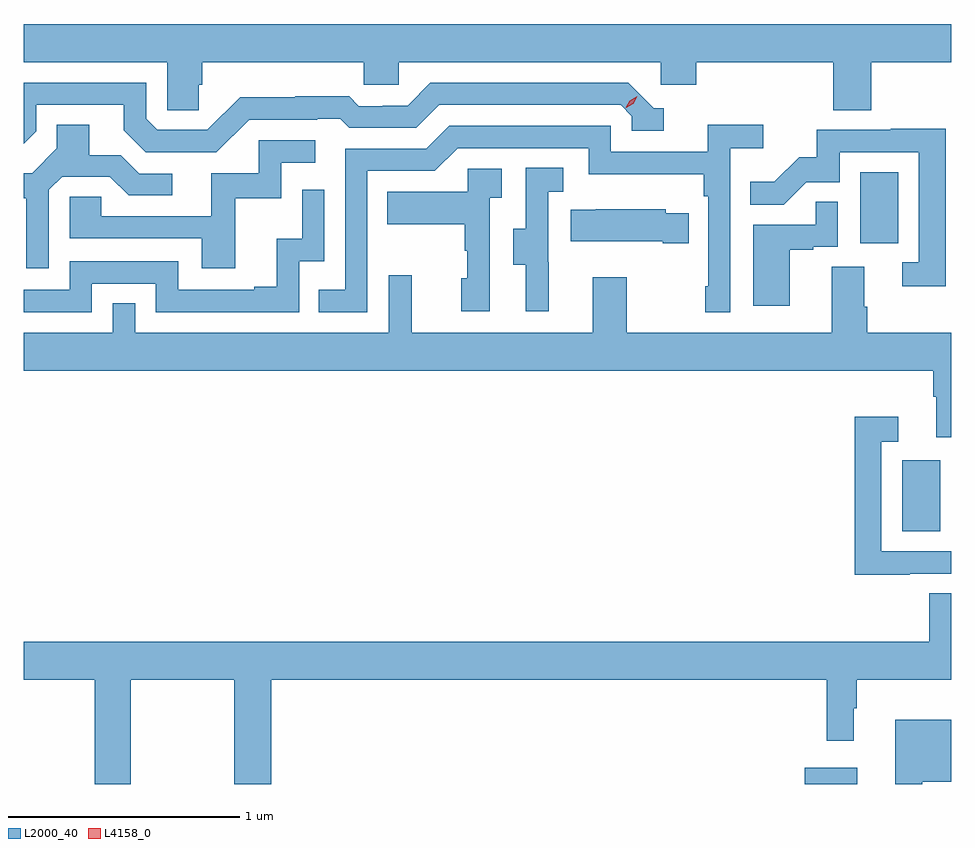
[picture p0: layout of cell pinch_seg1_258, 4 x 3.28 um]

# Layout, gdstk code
import gdstk
lib = gdstk.Library(unit=1e-6, precision=1e-09)
def R(c, l, rs):  # rectangles x0, y0, x1, y1
    for r in rs: c.add(gdstk.rectangle(r[:2], r[2:], *l))
def P(c, l, *ps):  # polygons
    for p in ps: c.add(gdstk.Polygon(p, *l))
L2000_40 = (2000, 40)
L4158_0 = (4158, 0)

pinch_seg1_258 = lib.new_cell('pinch_seg1_258')
R(pinch_seg1_258, L2000_40, [(949.892,577.922,950.119,577.993), (950.312,579.012,950.476,579.319), (950.132,580.254,950.296,580.561)])
P(pinch_seg1_258, L2000_40, [(947.279,580.938),(947.294,580.938),(947.294,581.036),(947.991,581.036),(947.991,580.938),(948.141,580.938),(948.141,581.036),(949.272,581.036),(949.272,580.938),(949.424,580.938),(949.424,581.036),(950.015,581.036),(950.015,580.828),(950.18,580.828),(950.18,581.036),(950.524,581.036),(950.524,581.2),(946.524,581.2),(946.524,581.036),(947.142,581.036),(947.142,580.828),(947.279,580.828)],
  [(947.496,580.788),(947.789,580.788),(947.789,580.791),(947.888,580.791),(947.927,580.752),(948.216,580.752),(948.315,580.851),(949.098,580.851),(949.146,580.803),(949.146,580.74),(949.285,580.74),(949.285,580.836),(949.242,580.836),(949.131,580.947),(948.278,580.947),(948.179,580.848),(948.072,580.848),(948.072,580.845),(947.969,580.845),(947.927,580.888),(947.694,580.888),(947.694,580.885),(947.458,580.885),(947.316,580.743),(947.1,580.743),(947.052,580.791),(947.052,580.947),(946.524,580.947),(946.524,580.683),(946.578,580.737),(946.578,580.851),(946.955,580.851),(946.955,580.741),(947.049,580.647),(947.355,580.647)],
  [(948.006,580.566),(948.297,580.566),(948.396,580.665),(948.96,580.665),(948.96,580.553),(949.456,580.553),(949.456,580.457),(949.476,580.457),(949.476,580.069),(949.464,580.069),(949.464,579.957),(949.572,579.957),(949.572,580.664),(949.714,580.664),(949.714,580.766),(949.475,580.766),(949.475,580.65),(949.056,580.65),(949.056,580.761),(948.359,580.761),(948.26,580.662),(947.91,580.662),(947.91,580.053),(947.797,580.053),(947.797,579.957),(948.006,579.957)],
  [(946.632,580.485),(946.689,580.542),(946.895,580.542),(946.976,580.461),(947.164,580.461),(947.164,580.554),(947.022,580.554),(946.942,580.634),(946.807,580.634),(946.807,580.766),(946.667,580.766),(946.667,580.664),(946.56,580.557),(946.524,580.557),(946.524,580.449),(946.535,580.449),(946.535,580.146),(946.632,580.146)],
  [(950.501,580.748),(950.263,580.748),(950.263,580.743),(949.945,580.743),(949.945,580.626),(949.868,580.626),(949.761,580.519),(949.657,580.519),(949.657,580.42),(949.801,580.42),(949.899,580.518),(950.043,580.518),(950.043,580.647),(950.385,580.647),(950.385,580.173),(950.313,580.173),(950.313,580.068),(950.501,580.068)],
  [(947.435,580.449),(947.634,580.449),(947.634,580.602),(947.782,580.602),(947.782,580.698),(947.538,580.698),(947.538,580.557),(947.333,580.557),(947.333,580.371),(946.859,580.371),(946.859,580.455),(946.722,580.455),(946.722,580.275),(947.291,580.275),(947.291,580.146),(947.435,580.146)],
  [(948.788,580.173),(948.786,580.173),(948.786,580.477),(948.85,580.477),(948.85,580.58),(948.69,580.58),(948.69,580.317),(948.635,580.317),(948.635,580.162),(948.689,580.162),(948.689,579.96),(948.788,579.96)],
  [(948.534,580.451),(948.586,580.451),(948.586,580.575),(948.438,580.575),(948.438,580.477),(948.091,580.477),(948.091,580.337),(948.426,580.337),(948.426,580.223),(948.436,580.223),(948.436,580.104),(948.41,580.104),(948.41,579.96),(948.534,579.96)],
  [(946.818,580.08),(947.094,580.08),(947.094,579.957),(947.712,579.957),(947.712,580.176),(947.82,580.176),(947.82,580.486),(947.724,580.486),(947.724,580.274),(947.615,580.274),(947.615,580.066),(947.519,580.066),(947.519,580.053),(947.19,580.053),(947.19,580.176),(946.722,580.176),(946.722,580.053),(946.524,580.053),(946.524,579.957),(946.818,579.957)],
  [(949.828,580.227),(949.928,580.227),(949.928,580.239),(950.034,580.239),(950.034,580.433),(949.939,580.433),(949.939,580.335),(949.67,580.335),(949.67,579.984),(949.828,579.984)],
  [(949.391,580.384),(949.293,580.384),(949.293,580.402),(948.991,580.402),(948.991,580.399),(948.883,580.399),(948.883,580.262),(949.28,580.262),(949.28,580.255),(949.391,580.255)],
  [(950.524,579.868),(950.162,579.868),(950.162,579.98),(950.149,579.98),(950.149,580.154),(950.009,580.154),(950.009,579.868),(949.125,579.868),(949.125,580.108),(948.977,580.108),(948.977,579.868),(948.197,579.868),(948.197,580.117),(948.099,580.117),(948.099,579.868),(947.004,579.868),(947.004,579.995),(946.908,579.995),(946.908,579.868),(946.524,579.868),(946.524,579.704),(950.447,579.704),(950.447,579.592),(950.459,579.592),(950.459,579.418),(950.524,579.418)],
  [(950.345,578.829),(950.524,578.829),(950.524,578.925),(950.223,578.925),(950.223,579.399),(950.296,579.399),(950.296,579.505),(950.107,579.505),(950.107,578.824),(950.345,578.824)],
  [(946.986,578.372),(947.431,578.372),(947.431,577.922),(947.591,577.922),(947.591,578.372),(949.987,578.372),(949.987,578.109),(950.104,578.109),(950.104,578.249),(950.116,578.249),(950.116,578.372),(950.524,578.372),(950.524,578.744),(950.429,578.744),(950.429,578.536),(946.524,578.536),(946.524,578.372),(946.831,578.372),(946.831,577.922),(946.986,577.922)],
  [(950.399,577.931),(950.524,577.931),(950.524,578.2),(950.282,578.2),(950.282,577.922),(950.399,577.922)])
P(pinch_seg1_258, L4158_0, [(949.121,580.838),(949.121,580.838),(949.138,580.87),(949.169,580.889),(949.169,580.889),(949.169,580.889),(949.152,580.857),(949.122,580.838)])

lib.write_gds('pinch_seg1_258.gds')
